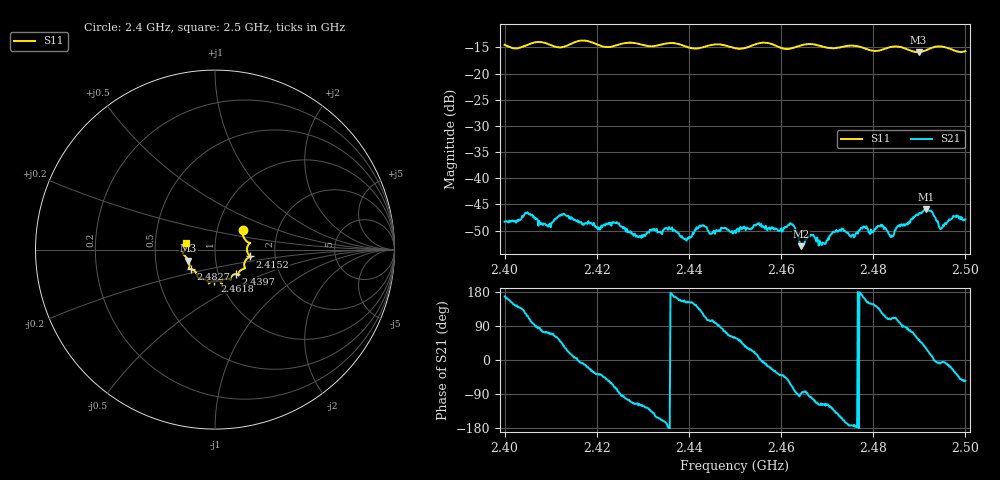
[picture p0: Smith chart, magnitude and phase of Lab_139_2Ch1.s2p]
# Hz S RI R 50
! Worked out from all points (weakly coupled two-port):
!   601 points, 2.4 GHz to 2.5 GHz, reference 50 ohm
!   highest |S21| = -45.90 dB at 2.4915 GHz (marker M1); lowest = -53.0 dB at 2.4643 GHz (marker M2)
!   lowest |S11| = -15.9 dB at 2.4898 GHz (marker M3), VSWR 1.38, Z = 36.9 - j4.65 ohm
!   |S11| at or under -10 dB: start of sweep to end of sweep
!   S12 and S22 are empty: the file has one direction only
!   S11 on the Smith chart (normalised r, x): 2.4 GHz: 1.33, +0.30; 2.4152 GHz: 1.48, -0.12; 2.4397 GHz: 1.21, -0.34; 2.4618 GHz: 0.94, -0.33; 2.4827 GHz: 0.75, -0.17; 2.5 GHz: 0.72, +0.06
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2.4e9  0.1552 0.1075  -0.00376 0.000824  0 0  0 0
2.405e9  0.1844 0.0404  -0.00212 0.00424  0 0  0 0
2.4095e9  0.1889 0.0312  0.00102 0.00332  0 0  0 0
2.4125e9  0.179 -0.00741  0.00325 0.00307  0 0  0 0
2.415167e9  0.1953 -0.038  0.00399 0.000503  0 0  0 0
2.416667e9  0.2025 -0.0429  0.00377 -0.000557  0 0  0 0
2.429167e9  0.1605 -0.1063  -0.0012 -0.00248  0 0  0 0
2.433333e9  0.1303 -0.1336  -0.00273 -0.00139  0 0  0 0
2.439667e9  0.1169 -0.1359  -0.0024 0.00117  0 0  0 0
2.442667e9  0.0908 -0.1516  -0.0022 0.00274  0 0  0 0
2.45e9  0.0655 -0.1625  0.00161 0.00266  0 0  0 0
2.461833e9  -0.00281 -0.1725  0.00183 -0.00309  0 0  0 0
2.464333e9  -0.0296 -0.184  5.81e-05 -0.00225  0 0  0 0
2.466667e9  -0.0344 -0.1882  -0.000527 -0.0028  0 0  0 0
2.469167e9  -0.0409 -0.176  -0.0011 -0.00212  0 0  0 0
2.473e9  -0.0805 -0.16  -0.0028 -0.00145  0 0  0 0
2.482667e9  -0.1349 -0.1092  -0.0013 0.0031  0 0  0 0
2.483333e9  -0.14 -0.109  -0.000915 0.00281  0 0  0 0
2.489833e9  -0.1478 -0.0614  0.00278 0.0036  0 0  0 0
2.4915e9  -0.1628 -0.0395  0.00441 0.0025  0 0  0 0
2.494667e9  -0.1806 -0.0207  0.00325 -0.000394  0 0  0 0
2.5e9  -0.1591 0.0388  0.00232 -0.00331  0 0  0 0
